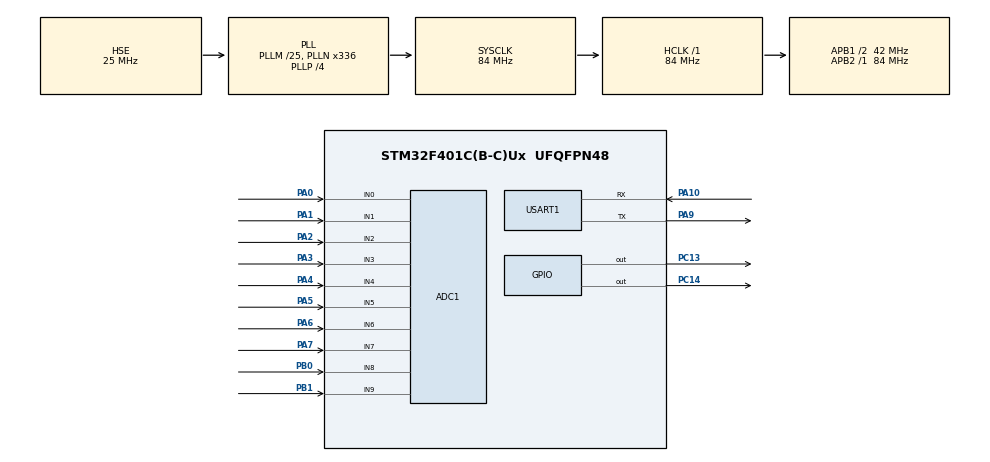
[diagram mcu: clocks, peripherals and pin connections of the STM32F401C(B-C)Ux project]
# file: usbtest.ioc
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ADC1.Channel-0\#ChannelRegularConversion=ADC_CHANNEL_0
ADC1.Channel-1\#ChannelRegularConversion=ADC_CHANNEL_1
ADC1.Channel-2\#ChannelRegularConversion=ADC_CHANNEL_2
ADC1.Channel-3\#ChannelRegularConversion=ADC_CHANNEL_3
ADC1.Channel-4\#ChannelRegularConversion=ADC_CHANNEL_4
ADC1.Channel-5\#ChannelRegularConversion=ADC_CHANNEL_5
ADC1.Channel-6\#ChannelRegularConversion=ADC_CHANNEL_6
ADC1.Channel-7\#ChannelRegularConversion=ADC_CHANNEL_7
ADC1.Channel-8\#ChannelRegularConversion=ADC_CHANNEL_8
ADC1.Channel-9\#ChannelRegularConversion=ADC_CHANNEL_9
ADC1.ContinuousConvMode=ENABLE
ADC1.DMAContinuousRequests=ENABLE
ADC1.DiscontinuousConvMode=DISABLE
ADC1.NbrOfConversion=10
ADC1.NbrOfConversionFlag=1
ADC1.Rank-0\#ChannelRegularConversion=1
ADC1.Rank-1\#ChannelRegularConversion=2
ADC1.Rank-2\#ChannelRegularConversion=3
ADC1.Rank-3\#ChannelRegularConversion=4
ADC1.Rank-4\#ChannelRegularConversion=5
ADC1.Rank-5\#ChannelRegularConversion=6
ADC1.Rank-6\#ChannelRegularConversion=7
ADC1.Rank-7\#ChannelRegularConversion=8
ADC1.Rank-8\#ChannelRegularConversion=9
ADC1.Rank-9\#ChannelRegularConversion=10
ADC1.SamplingTime-0\#ChannelRegularConversion=ADC_SAMPLETIME_3CYCLES
ADC1.SamplingTime-1\#ChannelRegularConversion=ADC_SAMPLETIME_3CYCLES
ADC1.SamplingTime-2\#ChannelRegularConversion=ADC_SAMPLETIME_3CYCLES
ADC1.SamplingTime-3\#ChannelRegularConversion=ADC_SAMPLETIME_3CYCLES
ADC1.SamplingTime-4\#ChannelRegularConversion=ADC_SAMPLETIME_3CYCLES
ADC1.SamplingTime-5\#ChannelRegularConversion=ADC_SAMPLETIME_3CYCLES
ADC1.SamplingTime-6\#ChannelRegularConversion=ADC_SAMPLETIME_3CYCLES
ADC1.SamplingTime-7\#ChannelRegularConversion=ADC_SAMPLETIME_3CYCLES
ADC1.SamplingTime-8\#ChannelRegularConversion=ADC_SAMPLETIME_3CYCLES
ADC1.SamplingTime-9\#ChannelRegularConversion=ADC_SAMPLETIME_3CYCLES
ADC1.ScanConvMode=ENABLE
ADC1.master=1
Dma.ADC1.0.Direction=DMA_PERIPH_TO_MEMORY
Dma.ADC1.0.FIFOMode=DMA_FIFOMODE_DISABLE
Dma.ADC1.0.Instance=DMA2_Stream0
Dma.ADC1.0.MemDataAlignment=DMA_MDATAALIGN_WORD
Dma.ADC1.0.MemInc=DMA_MINC_ENABLE
Dma.ADC1.0.Mode=DMA_CIRCULAR
Dma.ADC1.0.PeriphDataAlignment=DMA_PDATAALIGN_WORD
Dma.ADC1.0.PeriphInc=DMA_PINC_DISABLE
Dma.ADC1.0.Priority=DMA_PRIORITY_LOW
Dma.Request0=ADC1
Dma.Request1=USART1_TX
Dma.USART1_TX.1.Direction=DMA_MEMORY_TO_PERIPH
Dma.USART1_TX.1.FIFOMode=DMA_FIFOMODE_DISABLE
Dma.USART1_TX.1.Instance=DMA2_Stream7
Dma.USART1_TX.1.MemDataAlignment=DMA_MDATAALIGN_BYTE
Dma.USART1_TX.1.MemInc=DMA_MINC_ENABLE
Dma.USART1_TX.1.Mode=DMA_NORMAL
Dma.USART1_TX.1.PeriphDataAlignment=DMA_PDATAALIGN_BYTE
Dma.USART1_TX.1.PeriphInc=DMA_PINC_DISABLE
Dma.USART1_TX.1.Priority=DMA_PRIORITY_LOW
Mcu.Family=STM32F4
Mcu.Name=STM32F401C(B-C)Ux
Mcu.Package=UFQFPN48
NVIC.DMA2_Stream0_IRQn=true\:0\:0\:false\:false\:true\:false\:true\:true
NVIC.DMA2_Stream7_IRQn=true\:0\:0\:false\:false\:true\:false\:true\:true
NVIC.PriorityGroup=NVIC_PRIORITYGROUP_4
NVIC.USART1_IRQn=true\:0\:0\:false\:false\:true\:true\:true\:true
PA0-WKUP.Signal=ADCx_IN0
PA1.Signal=ADCx_IN1
PA10.Mode=Asynchronous
PA10.Signal=USART1_RX
PA13.Mode=Serial_Wire
PA13.Signal=SYS_JTMS-SWDIO
PA14.Mode=Serial_Wire
PA14.Signal=SYS_JTCK-SWCLK
PA2.Signal=ADCx_IN2
PA3.Signal=ADCx_IN3
PA4.Signal=ADCx_IN4
PA5.Signal=ADCx_IN5
PA6.Signal=ADCx_IN6
PA7.Signal=ADCx_IN7
PA9.Mode=Asynchronous
PA9.Signal=USART1_TX
PB0.Signal=ADCx_IN8
PB1.Signal=ADCx_IN9
PC13-ANTI_TAMP.Signal=GPIO_Output
PC14-OSC32_IN.Signal=GPIO_Output
PH0\ -\ OSC_IN.Mode=HSE-External-Oscillator
PH0\ -\ OSC_IN.Signal=RCC_OSC_IN
PH1\ -\ OSC_OUT.Mode=HSE-External-Oscillator
PH1\ -\ OSC_OUT.Signal=RCC_OSC_OUT
ProjectManager.HeapSize=0x200
ProjectManager.StackSize=0x400
ProjectManager.TargetToolchain=STM32CubeIDE
RCC.48MHZClocksFreq_Value=48000000
RCC.AHBFreq_Value=84000000
RCC.APB1CLKDivider=RCC_HCLK_DIV2
RCC.APB1Freq_Value=42000000
RCC.APB1TimFreq_Value=84000000
RCC.APB2Freq_Value=84000000
RCC.APB2TimFreq_Value=84000000
RCC.CortexFreq_Value=84000000
RCC.HCLKFreq_Value=84000000
RCC.HSE_VALUE=25000000
RCC.HSI_VALUE=16000000
RCC.LSE_VALUE=32768
RCC.PLLM=25
RCC.PLLN=336
RCC.PLLP=RCC_PLLP_DIV4
RCC.PLLQ=7
RCC.PLLSourceVirtual=RCC_PLLSOURCE_HSE
RCC.SYSCLKFreq_VALUE=84000000
RCC.SYSCLKSource=RCC_SYSCLKSOURCE_PLLCLK
RCC.VCOOutputFreq_Value=336000000
SH.ADCx_IN0.0=ADC1_IN0,IN0
SH.ADCx_IN1.0=ADC1_IN1,IN1
SH.ADCx_IN2.0=ADC1_IN2,IN2
SH.ADCx_IN3.0=ADC1_IN3,IN3
SH.ADCx_IN4.0=ADC1_IN4,IN4
SH.ADCx_IN5.0=ADC1_IN5,IN5
SH.ADCx_IN6.0=ADC1_IN6,IN6
SH.ADCx_IN7.0=ADC1_IN7,IN7
SH.ADCx_IN8.0=ADC1_IN8,IN8
SH.ADCx_IN9.0=ADC1_IN9,IN9
USART1.VirtualMode=VM_ASYNC
board=custom

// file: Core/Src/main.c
/* USER CODE BEGIN Header */
/**
  ******************************************************************************
  * @file           : main.c
  * @brief          : Main program body
  ******************************************************************************
  * @attention
  *
  * Copyright (c) 2023 STMicroelectronics.
  * All rights reserved.
  *
  * This software is licensed under terms that can be found in the LICENSE file
  * in the root directory of this software component.
  * If no LICENSE file comes with this software, it is provided AS-IS.
  *
  ******************************************************************************
  */
/* USER CODE END Header */
#include "main.h"

/* USER CODE BEGIN Includes */
#include "string.h"
/* USER CODE END Includes */

ADC_HandleTypeDef hadc1;
DMA_HandleTypeDef hdma_adc1;

UART_HandleTypeDef huart1;
DMA_HandleTypeDef hdma_usart1_tx;

/* USER CODE BEGIN PV */

volatile uint32_t sensorValuesDMA[10];
const int sensorValuesDMA_ChannelCount = sizeof(sensorValuesDMA)/sizeof(sensorValuesDMA[0]);

/* USER CODE END PV */

void SystemClock_Config(void);
static void MX_GPIO_Init(void);
static void MX_DMA_Init(void);
static void MX_ADC1_Init(void);
static void MX_USART1_UART_Init(void);

/* USER CODE BEGIN 0 */
uint8_t commandBuffer[64];

uint8_t irSensorTxBuffer[130];

int lengthIrSensorTxBuffer;

//void HAL_UART_TxHalfCpltCallback(UART_HandleTypeDef *huart){
//	lengthIrSensorTxBuffer = snprintf(irSensorTxBuffer, sizeof(irSensorTxBuffer), "s1 = %d | s2 = %d | s3 = %d | s4 = %d | s5 = %d | s6 = %d | s7 = %d | s8 = %d | s9 = %d | s10 = %d\r\n", sensorValuesDMA[0], sensorValuesDMA[1], sensorValuesDMA[2], sensorValuesDMA[3], sensorValuesDMA[4], sensorValuesDMA[5], sensorValuesDMA[6], sensorValuesDMA[7], sensorValuesDMA[8], sensorValuesDMA[9], sensorValuesDMA[10]);
//	HAL_UART_Transmit_DMA(&huart1,irSensorTxBuffer, lengthIrSensorTxBuffer);
//}

void HAL_UART_TxCpltCallback(UART_HandleTypeDef *huart)
{
	lengthIrSensorTxBuffer = snprintf(irSensorTxBuffer, sizeof(irSensorTxBuffer), "s0 = %d | s1 = %d | s2 = %d | s3 = %d | s4 = %d | s5 = %d | s6 = %d | s7 = %d | s8 = %d | s9 = %d\r\n", sensorValuesDMA[0], sensorValuesDMA[1], sensorValuesDMA[2], sensorValuesDMA[3], sensorValuesDMA[4], sensorValuesDMA[5], sensorValuesDMA[6], sensorValuesDMA[7], sensorValuesDMA[8], sensorValuesDMA[9], sensorValuesDMA[10]);
	HAL_UART_Transmit_DMA(&huart1,irSensorTxBuffer, lengthIrSensorTxBuffer);
	HAL_Delay(50);
}

/* USER CODE END 0 */

int main(void)
{

  /* MCU Configuration--------------------------------------------------------*/

  /* Reset of all peripherals, Initializes the Flash interface and the Systick. */
  HAL_Init();

  /* Configure the system clock */
  SystemClock_Config();

  /* Initialize all configured peripherals */
  MX_GPIO_Init();
  MX_DMA_Init();
  MX_ADC1_Init();
  MX_USART1_UART_Init();
  /* USER CODE BEGIN 2 */

  HAL_ADC_Start_DMA(&hadc1, (uint32_t*) sensorValuesDMA, sensorValuesDMA_ChannelCount);

  lengthIrSensorTxBuffer = snprintf(irSensorTxBuffer, sizeof(irSensorTxBuffer), "s0 = %d | s1 = %d | s2 = %d | s3 = %d | s4 = %d | s5 = %d | s6 = %d | s7 = %d | s8 = %d | s9 = %d\r\n", sensorValuesDMA[0], sensorValuesDMA[1], sensorValuesDMA[2], sensorValuesDMA[3], sensorValuesDMA[4], sensorValuesDMA[5], sensorValuesDMA[6], sensorValuesDMA[7], sensorValuesDMA[8], sensorValuesDMA[9], sensorValuesDMA[10]);
  HAL_UART_Transmit_DMA(&huart1,irSensorTxBuffer, lengthIrSensorTxBuffer);
  HAL_Delay(50);
  /* USER CODE END 2 */

  /* Infinite loop */
  /* USER CODE BEGIN WHILE */

//  memcpy(concatBuf, valuetest, sizeof(valuetest));
//  memcpy(concatBuf + sizeof(valuetest), buftest, sizeof(buftest));

  while (1)
  {
	  HAL_GPIO_TogglePin(GPIOC, GPIO_PIN_13);
	  HAL_Delay(100);
    /* USER CODE END WHILE */

  }
}

void SystemClock_Config(void)
{
  RCC_OscInitTypeDef RCC_OscInitStruct = {0};
  RCC_ClkInitTypeDef RCC_ClkInitStruct = {0};

  /** Configure the main internal regulator output voltage
  */
  __HAL_RCC_PWR_CLK_ENABLE();
  __HAL_PWR_VOLTAGESCALING_CONFIG(PWR_REGULATOR_VOLTAGE_SCALE2);

  /** Initializes the RCC Oscillators according to the specified parameters
  * in the RCC_OscInitTypeDef structure.
  */
  RCC_OscInitStruct.OscillatorType = RCC_OSCILLATORTYPE_HSE;
  RCC_OscInitStruct.HSEState = RCC_HSE_ON;
  RCC_OscInitStruct.PLL.PLLState = RCC_PLL_ON;
  RCC_OscInitStruct.PLL.PLLSource = RCC_PLLSOURCE_HSE;
  RCC_OscInitStruct.PLL.PLLM = 25;
  RCC_OscInitStruct.PLL.PLLN = 336;
  RCC_OscInitStruct.PLL.PLLP = RCC_PLLP_DIV4;
  RCC_OscInitStruct.PLL.PLLQ = 7;
  if (HAL_RCC_OscConfig(&RCC_OscInitStruct) != HAL_OK)
  {
    Error_Handler();
  }

  /** Initializes the CPU, AHB and APB buses clocks
  */
  RCC_ClkInitStruct.ClockType = RCC_CLOCKTYPE_HCLK|RCC_CLOCKTYPE_SYSCLK
                              |RCC_CLOCKTYPE_PCLK1|RCC_CLOCKTYPE_PCLK2;
  RCC_ClkInitStruct.SYSCLKSource = RCC_SYSCLKSOURCE_PLLCLK;
  RCC_ClkInitStruct.AHBCLKDivider = RCC_SYSCLK_DIV1;
  RCC_ClkInitStruct.APB1CLKDivider = RCC_HCLK_DIV2;
  RCC_ClkInitStruct.APB2CLKDivider = RCC_HCLK_DIV1;

  if (HAL_RCC_ClockConfig(&RCC_ClkInitStruct, FLASH_LATENCY_2) != HAL_OK)
  {
    Error_Handler();
  }
}

static void MX_ADC1_Init(void)
{

  ADC_ChannelConfTypeDef sConfig = {0};

  /** Configure the global features of the ADC (Clock, Resolution, Data Alignment and number of conversion)
  */
  hadc1.Instance = ADC1;
  hadc1.Init.ClockPrescaler = ADC_CLOCK_SYNC_PCLK_DIV4;
  hadc1.Init.Resolution = ADC_RESOLUTION_12B;
  hadc1.Init.ScanConvMode = ENABLE;
  hadc1.Init.ContinuousConvMode = ENABLE;
  hadc1.Init.DiscontinuousConvMode = DISABLE;
  hadc1.Init.ExternalTrigConvEdge = ADC_EXTERNALTRIGCONVEDGE_NONE;
  hadc1.Init.ExternalTrigConv = ADC_SOFTWARE_START;
  hadc1.Init.DataAlign = ADC_DATAALIGN_RIGHT;
  hadc1.Init.NbrOfConversion = 10;
  hadc1.Init.DMAContinuousRequests = ENABLE;
  hadc1.Init.EOCSelection = ADC_EOC_SINGLE_CONV;
  if (HAL_ADC_Init(&hadc1) != HAL_OK)
  {
    Error_Handler();
  }

  /** Configure for the selected ADC regular channel its corresponding rank in the sequencer and its sample time.
  */
  sConfig.Channel = ADC_CHANNEL_0;
  sConfig.Rank = 1;
  sConfig.SamplingTime = ADC_SAMPLETIME_3CYCLES;
  if (HAL_ADC_ConfigChannel(&hadc1, &sConfig) != HAL_OK)
  {
    Error_Handler();
  }

  /** Configure for the selected ADC regular channel its corresponding rank in the sequencer and its sample time.
  */
  sConfig.Channel = ADC_CHANNEL_1;
  sConfig.Rank = 2;
  if (HAL_ADC_ConfigChannel(&hadc1, &sConfig) != HAL_OK)
  {
    Error_Handler();
  }

  /** Configure for the selected ADC regular channel its corresponding rank in the sequencer and its sample time.
  */
  sConfig.Channel = ADC_CHANNEL_2;
  sConfig.Rank = 3;
  if (HAL_ADC_ConfigChannel(&hadc1, &sConfig) != HAL_OK)
  {
    Error_Handler();
  }

  /** Configure for the selected ADC regular channel its corresponding rank in the sequencer and its sample time.
  */
  sConfig.Channel = ADC_CHANNEL_3;
  sConfig.Rank = 4;
  if (HAL_ADC_ConfigChannel(&hadc1, &sConfig) != HAL_OK)
  {
    Error_Handler();
  }

  /** Configure for the selected ADC regular channel its corresponding rank in the sequencer and its sample time.
  */
  sConfig.Channel = ADC_CHANNEL_4;
  sConfig.Rank = 5;
  if (HAL_ADC_ConfigChannel(&hadc1, &sConfig) != HAL_OK)
  {
    Error_Handler();
  }

  /** Configure for the selected ADC regular channel its corresponding rank in the sequencer and its sample time.
  */
  sConfig.Channel = ADC_CHANNEL_5;
  sConfig.Rank = 6;
  if (HAL_ADC_ConfigChannel(&hadc1, &sConfig) != HAL_OK)
  {
    Error_Handler();
  }

  /** Configure for the selected ADC regular channel its corresponding rank in the sequencer and its sample time.
  */
  sConfig.Channel = ADC_CHANNEL_6;
  sConfig.Rank = 7;
  if (HAL_ADC_ConfigChannel(&hadc1, &sConfig) != HAL_OK)
  {
    Error_Handler();
  }

  /** Configure for the selected ADC regular channel its corresponding rank in the sequencer and its sample time.
  */
  sConfig.Channel = ADC_CHANNEL_7;
  sConfig.Rank = 8;
  if (HAL_ADC_ConfigChannel(&hadc1, &sConfig) != HAL_OK)
  {
    Error_Handler();
  }

  /** Configure for the selected ADC regular channel its corresponding rank in the sequencer and its sample time.
  */
  sConfig.Channel = ADC_CHANNEL_8;
  sConfig.Rank = 9;
  if (HAL_ADC_ConfigChannel(&hadc1, &sConfig) != HAL_OK)
  {
    Error_Handler();
  }

  /** Configure for the selected ADC regular channel its corresponding rank in the sequencer and its sample time.
  */
  sConfig.Channel = ADC_CHANNEL_9;
  sConfig.Rank = 10;
  if (HAL_ADC_ConfigChannel(&hadc1, &sConfig) != HAL_OK)
  {
    Error_Handler();
  }

}

static void MX_USART1_UART_Init(void)
{

  huart1.Instance = USART1;
  huart1.Init.BaudRate = 115200;
  huart1.Init.WordLength = UART_WORDLENGTH_8B;
  huart1.Init.StopBits = UART_STOPBITS_1;
  huart1.Init.Parity = UART_PARITY_NONE;
  huart1.Init.Mode = UART_MODE_TX_RX;
  huart1.Init.HwFlowCtl = UART_HWCONTROL_NONE;
  huart1.Init.OverSampling = UART_OVERSAMPLING_16;
  if (HAL_UART_Init(&huart1) != HAL_OK)
  {
    Error_Handler();
  }

}

static void MX_DMA_Init(void)
{

  /* DMA controller clock enable */
  __HAL_RCC_DMA2_CLK_ENABLE();

  /* DMA interrupt init */
  /* DMA2_Stream0_IRQn interrupt configuration */
  HAL_NVIC_SetPriority(DMA2_Stream0_IRQn, 0, 0);
  HAL_NVIC_EnableIRQ(DMA2_Stream0_IRQn);
  /* DMA2_Stream7_IRQn interrupt configuration */
  HAL_NVIC_SetPriority(DMA2_Stream7_IRQn, 0, 0);
  HAL_NVIC_EnableIRQ(DMA2_Stream7_IRQn);

}

static void MX_GPIO_Init(void)
{
  GPIO_InitTypeDef GPIO_InitStruct = {0};

  /* GPIO Ports Clock Enable */
  __HAL_RCC_GPIOC_CLK_ENABLE();
  __HAL_RCC_GPIOH_CLK_ENABLE();
  __HAL_RCC_GPIOA_CLK_ENABLE();
  __HAL_RCC_GPIOB_CLK_ENABLE();

  /*Configure GPIO pin Output Level */
  HAL_GPIO_WritePin(GPIOC, GPIO_PIN_13|GPIO_PIN_14, GPIO_PIN_RESET);

  /*Configure GPIO pins : PC13 PC14 */
  GPIO_InitStruct.Pin = GPIO_PIN_13|GPIO_PIN_14;
  GPIO_InitStruct.Mode = GPIO_MODE_OUTPUT_PP;
  GPIO_InitStruct.Pull = GPIO_NOPULL;
  GPIO_InitStruct.Speed = GPIO_SPEED_FREQ_LOW;
  HAL_GPIO_Init(GPIOC, &GPIO_InitStruct);

}

void Error_Handler(void)
{
  __disable_irq();
  while (1)
  {
  }
}
